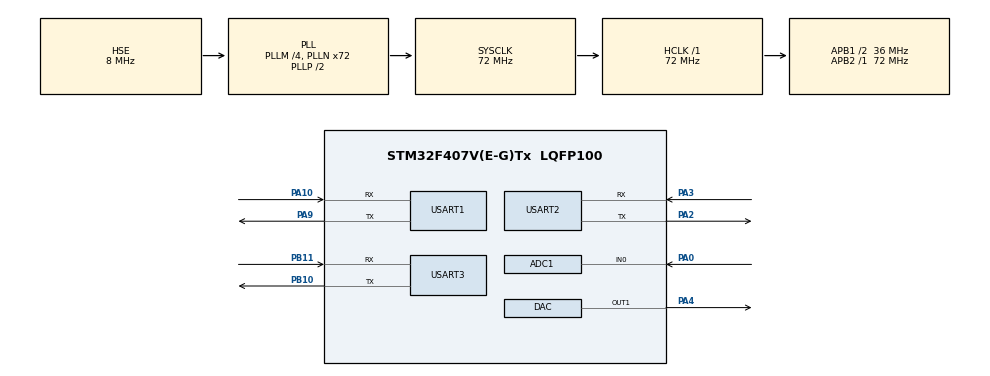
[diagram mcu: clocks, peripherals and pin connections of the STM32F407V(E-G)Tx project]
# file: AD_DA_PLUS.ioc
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ADC1.Channel-0\#ChannelRegularConversion=ADC_CHANNEL_0
ADC1.DMAContinuousRequests=ENABLE
ADC1.ExternalTrigConv=ADC_EXTERNALTRIGCONV_T2_TRGO
ADC1.NbrOfConversion=1
ADC1.NbrOfConversionFlag=1
ADC1.Rank-0\#ChannelRegularConversion=1
ADC1.Resolution=ADC_RESOLUTION_8B
ADC1.SamplingTime-0\#ChannelRegularConversion=ADC_SAMPLETIME_3CYCLES
ADC1.master=1
DAC.DAC_Trigger=DAC_TRIGGER_T2_TRGO
Dma.ADC1.0.Direction=DMA_PERIPH_TO_MEMORY
Dma.ADC1.0.FIFOMode=DMA_FIFOMODE_DISABLE
Dma.ADC1.0.Instance=DMA2_Stream0
Dma.ADC1.0.MemDataAlignment=DMA_MDATAALIGN_BYTE
Dma.ADC1.0.MemInc=DMA_MINC_ENABLE
Dma.ADC1.0.Mode=DMA_CIRCULAR
Dma.ADC1.0.PeriphDataAlignment=DMA_PDATAALIGN_BYTE
Dma.ADC1.0.PeriphInc=DMA_PINC_DISABLE
Dma.ADC1.0.Priority=DMA_PRIORITY_LOW
Dma.DAC1.1.Direction=DMA_MEMORY_TO_PERIPH
Dma.DAC1.1.FIFOMode=DMA_FIFOMODE_DISABLE
Dma.DAC1.1.Instance=DMA1_Stream5
Dma.DAC1.1.MemDataAlignment=DMA_MDATAALIGN_BYTE
Dma.DAC1.1.MemInc=DMA_MINC_ENABLE
Dma.DAC1.1.Mode=DMA_CIRCULAR
Dma.DAC1.1.PeriphDataAlignment=DMA_PDATAALIGN_BYTE
Dma.DAC1.1.PeriphInc=DMA_PINC_DISABLE
Dma.DAC1.1.Priority=DMA_PRIORITY_LOW
Dma.Request0=ADC1
Dma.Request1=DAC1
Mcu.Family=STM32F4
Mcu.Name=STM32F407V(E-G)Tx
Mcu.Package=LQFP100
NVIC.DMA1_Stream5_IRQn=true\:0\:0\:false\:false\:true\:false\:true\:true
NVIC.DMA2_Stream0_IRQn=true\:0\:0\:false\:false\:true\:false\:true\:true
NVIC.PriorityGroup=NVIC_PRIORITYGROUP_4
NVIC.USART1_IRQn=true\:0\:0\:false\:false\:true\:true\:true\:true
NVIC.USART2_IRQn=true\:0\:0\:false\:false\:true\:true\:true\:true
NVIC.USART3_IRQn=true\:0\:0\:false\:false\:true\:true\:true\:true
PA0-WKUP.Signal=ADCx_IN0
PA10.Mode=Asynchronous
PA10.Signal=USART1_RX
PA13.Mode=Serial_Wire
PA13.Signal=SYS_JTMS-SWDIO
PA14.Mode=Serial_Wire
PA14.Signal=SYS_JTCK-SWCLK
PA2.Mode=Asynchronous
PA2.Signal=USART2_TX
PA3.Mode=Asynchronous
PA3.Signal=USART2_RX
PA4.Signal=COMP_DAC1_group
PA9.Mode=Asynchronous
PA9.Signal=USART1_TX
PB10.Mode=Asynchronous
PB10.Signal=USART3_TX
PB11.Mode=Asynchronous
PB11.Signal=USART3_RX
PH0-OSC_IN.Mode=HSE-External-Oscillator
PH0-OSC_IN.Signal=RCC_OSC_IN
PH1-OSC_OUT.Mode=HSE-External-Oscillator
PH1-OSC_OUT.Signal=RCC_OSC_OUT
ProjectManager.HeapSize=0x200
ProjectManager.StackSize=0x400
ProjectManager.TargetToolchain=MDK-ARM V5
RCC.48MHZClocksFreq_Value=36000000
RCC.AHBFreq_Value=72000000
RCC.APB1CLKDivider=RCC_HCLK_DIV2
RCC.APB1Freq_Value=36000000
RCC.APB1TimFreq_Value=72000000
RCC.APB2Freq_Value=72000000
RCC.APB2TimFreq_Value=72000000
RCC.CortexFreq_Value=72000000
RCC.HCLKFreq_Value=72000000
RCC.HSE_VALUE=8000000
RCC.HSI_VALUE=16000000
RCC.LSE_VALUE=32768
RCC.PLLM=4
RCC.PLLN=72
RCC.PLLSourceVirtual=RCC_PLLSOURCE_HSE
RCC.SYSCLKFreq_VALUE=72000000
RCC.SYSCLKSource=RCC_SYSCLKSOURCE_PLLCLK
RCC.VCOOutputFreq_Value=144000000
SH.ADCx_IN0.0=ADC1_IN0,IN0
SH.COMP_DAC1_group.0=DAC_OUT1,DAC_OUT1
TIM2.AutoReloadPreload=TIM_AUTORELOAD_PRELOAD_ENABLE
TIM2.Period=3599
TIM2.TIM_MasterOutputTrigger=TIM_TRGO_UPDATE
USART1.VirtualMode=VM_ASYNC
USART2.VirtualMode=VM_ASYNC
USART3.VirtualMode=VM_ASYNC
VP_TIM2_VS_ClockSourceINT.Mode=Internal
board=custom

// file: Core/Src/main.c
/* USER CODE BEGIN Header */

//A10 2025.5.9

/**
 ******************************************************************************
 * @file           : main.c
 * @brief          : Main program body
 ******************************************************************************
 * @attention
 *
 * Copyright (c) 2025 STMicroelectronics.
 * All rights reserved.
 *
 * This software is licensed under terms that can be found in the LICENSE file
 * in the root directory of this software component.
 * If no LICENSE file comes with this software, it is provided AS-IS.
 *
 ******************************************************************************
 */
/* USER CODE END Header */
#include "main.h"
#include "adc.h"
#include "dac.h"
#include "dma.h"
#include "tim.h"
#include "usart.h"
#include "gpio.h"

/* USER CODE BEGIN Includes */
#include "string.h"
#include "my_usart.h"            // 自定义的串口通信函数
#include "zuolan_inside_flash.h" // 自定义的内部Flash操作函数
#include "audio_recorder.h"      // 新增：自定义的音频录制/播放功能
#include "my_hmi.h"              // HMI串口屏函数
/* USER CODE END Includes */

void SystemClock_Config(void);

int main(void)
{

  /* MCU Configuration--------------------------------------------------------*/

  /* Reset of all peripherals, Initializes the Flash interface and the Systick. */
  HAL_Init();

  /* Configure the system clock */
  SystemClock_Config();

  /* Initialize all configured peripherals */
  MX_GPIO_Init();
  MX_DMA_Init();
  MX_ADC1_Init();
  MX_USART2_UART_Init();
  MX_DAC_Init();
  MX_TIM2_Init();
  MX_USART1_UART_Init();
  MX_USART3_UART_Init();
  /* USER CODE BEGIN 2 */
  HAL_TIM_Base_Start(&htim2);
  HAL_DAC_Start(&hdac, DAC_CHANNEL_1);
  HAL_UART_Receive_IT(&huart2, &rxTemp2, 1);
  // 初始化音频录制/播放功能
  AUDIO_Init();
  // 显示系统初始化信息到HMI
  HMI_Debug_Print("System initialized");
  HMI_Debug_Print("Commands: record, play, stop, test_flash");

  // 计算最大录音容量
  uint32_t maxBytes = AUDIO_GetMaxRecordSize();
  float maxSeconds = (float)maxBytes / SAMPLES_PER_SECOND;
  HMI_Debug_Print("Max capacity: %lu bytes (%.1f sec)", maxBytes, maxSeconds);

  // 检查是否有有效录音，但不自动播放
  if (AUDIO_HasValidRecording())
  {
    HMI_Debug_Print("Recording found. Use 'play' to listen");
  }
  else
  {
    HMI_Debug_Print("No recording found");
  }

  /* USER CODE END 2 */

  /* Infinite loop */
  /* USER CODE BEGIN WHILE */
  while (1)
  {
    // 检查是否有命令接收完成
    if (commandReceived2)
    {
      // 重置命令接收标志
      commandReceived2 = 0;

      // 处理接收到的命令
      AUDIO_Process_Command((const char *)rxBuffer2);

      // 清空接收缓冲区
      memset(rxBuffer2, 0, RX_BUFFER_SIZE);
      rxIndex2 = 0;
    }
    /* USER CODE END WHILE */

  }
}

void SystemClock_Config(void)
{
  RCC_OscInitTypeDef RCC_OscInitStruct = {0};
  RCC_ClkInitTypeDef RCC_ClkInitStruct = {0};

  /** Configure the main internal regulator output voltage
   */
  __HAL_RCC_PWR_CLK_ENABLE();
  __HAL_PWR_VOLTAGESCALING_CONFIG(PWR_REGULATOR_VOLTAGE_SCALE1);

  /** Initializes the RCC Oscillators according to the specified parameters
   * in the RCC_OscInitTypeDef structure.
   */
  RCC_OscInitStruct.OscillatorType = RCC_OSCILLATORTYPE_HSE;
  RCC_OscInitStruct.HSEState = RCC_HSE_ON;
  RCC_OscInitStruct.PLL.PLLState = RCC_PLL_ON;
  RCC_OscInitStruct.PLL.PLLSource = RCC_PLLSOURCE_HSE;
  RCC_OscInitStruct.PLL.PLLM = 4;
  RCC_OscInitStruct.PLL.PLLN = 72;
  RCC_OscInitStruct.PLL.PLLP = RCC_PLLP_DIV2;
  RCC_OscInitStruct.PLL.PLLQ = 4;
  if (HAL_RCC_OscConfig(&RCC_OscInitStruct) != HAL_OK)
  {
    Error_Handler();
  }

  /** Initializes the CPU, AHB and APB buses clocks
   */
  RCC_ClkInitStruct.ClockType = RCC_CLOCKTYPE_HCLK | RCC_CLOCKTYPE_SYSCLK | RCC_CLOCKTYPE_PCLK1 | RCC_CLOCKTYPE_PCLK2;
  RCC_ClkInitStruct.SYSCLKSource = RCC_SYSCLKSOURCE_PLLCLK;
  RCC_ClkInitStruct.AHBCLKDivider = RCC_SYSCLK_DIV1;
  RCC_ClkInitStruct.APB1CLKDivider = RCC_HCLK_DIV2;
  RCC_ClkInitStruct.APB2CLKDivider = RCC_HCLK_DIV1;

  if (HAL_RCC_ClockConfig(&RCC_ClkInitStruct, FLASH_LATENCY_2) != HAL_OK)
  {
    Error_Handler();
  }
}
/* USER CODE BEGIN 4 */

/**
 * @brief ADC转换完成回调，转发到音频模块
 */
void HAL_ADC_ConvCpltCallback(ADC_HandleTypeDef *hadc)
{
  AUDIO_ADC_ConvCpltCallback(hadc);
}

/**
 * @brief ADC半转换完成回调，转发到音频模块
 */
void HAL_ADC_ConvHalfCpltCallback(ADC_HandleTypeDef *hadc)
{
  AUDIO_ADC_ConvHalfCpltCallback(hadc);
}

/**
 * @brief DAC转换完成回调，转发到音频模块
 */
void HAL_DAC_ConvCpltCallbackCh1(DAC_HandleTypeDef *hdac)
{
  AUDIO_DAC_ConvCpltCallbackCh1(hdac);
}

/**
 * @brief DAC半转换完成回调，转发到音频模块
 */
void HAL_DAC_ConvHalfCpltCallbackCh1(DAC_HandleTypeDef *hdac)
{
  AUDIO_DAC_ConvHalfCpltCallbackCh1(hdac);
}
/* USER CODE END 4 */

void Error_Handler(void)
{
  __disable_irq();
  while (1)
  {
  }
}
